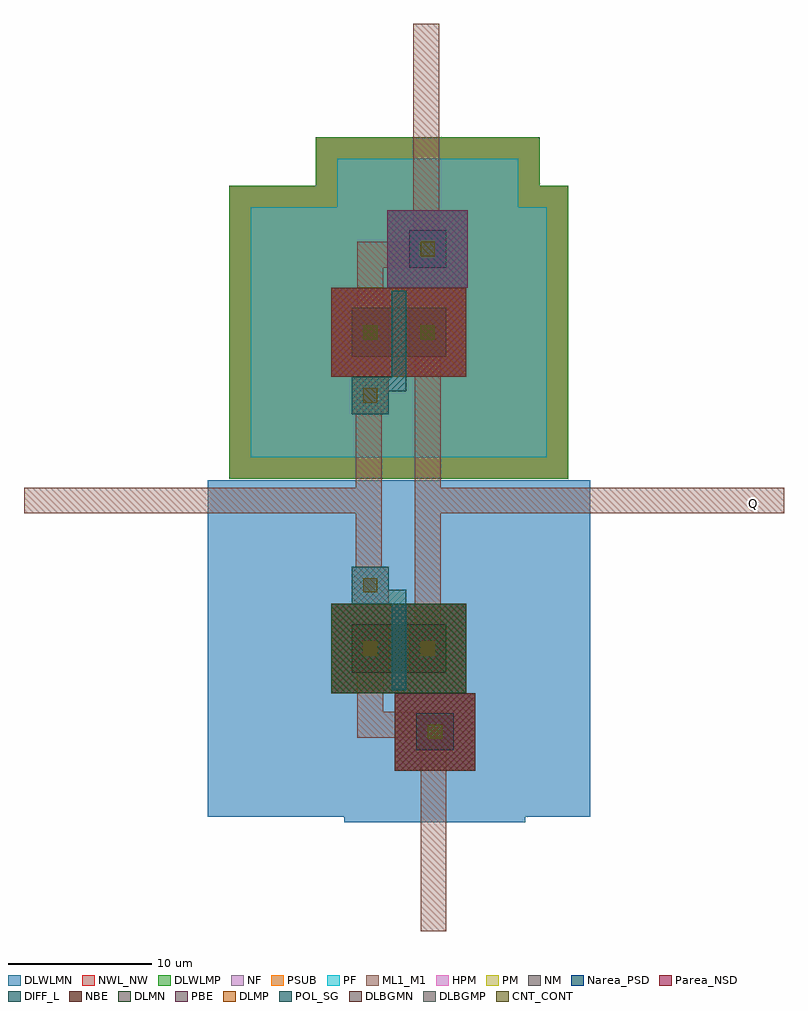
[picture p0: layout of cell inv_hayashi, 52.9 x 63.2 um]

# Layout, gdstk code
import gdstk
lib = gdstk.Library(unit=1e-6, precision=1e-07)
def R(c, l, rs):  # rectangles x0, y0, x1, y1
    for r in rs: c.add(gdstk.rectangle(r[:2], r[2:], *l))
DIFF_L = (3, 0)
NM = (7, 0)
POL_SG = (8, 0)
Narea_PSD = (9, 0)
CNT_CONT = (11, 0)
ML1_M1 = (13, 0)
NF = (25, 0)
PF = (26, 0)
Parea_NSD = (28, 0)
HPM = (33, 0)
PM = (35, 0)
NWL_NW = (36, 0)
PSUB = (140, 0)
PBE = (146, 0)
NBE = (147, 0)
DLWLMP = (150, 0)
DLWLMN = (151, 0)
DLMP = (157, 0)
DLMN = (158, 0)
DLBGMP = (177, 0)
DLBGMN = (178, 0)

dcont = lib.new_cell('dcont')
R(dcont, DIFF_L, [(-1.3,-1.3,1.3,1.3)])
R(dcont, CNT_CONT, [(-0.5,-0.5,0.5,0.5)])
R(dcont, ML1_M1, [(-1.3,-1.3,1.3,1.3), (-0.5,-0.5,0.5,0.5)])

pcont = lib.new_cell('pcont')
R(pcont, POL_SG, [(-1.3,-1.3,1.3,1.3)])
R(pcont, CNT_CONT, [(-0.5,-0.5,0.5,0.5)])
R(pcont, ML1_M1, [(-1.3,-1.3,1.3,1.3), (-0.5,-0.5,0.5,0.5)])

c_dcont = lib.new_cell('DCONT')
R(c_dcont, DIFF_L, [(-1.3,-1.3,1.3,1.3)])
R(c_dcont, CNT_CONT, [(-0.5,-0.5,0.5,0.5)])
R(c_dcont, ML1_M1, [(-1.3,-1.3,1.3,1.3), (-0.5,-0.5,0.5,0.5)])

psubcont = lib.new_cell('psubcont')
R(psubcont, NM, [(-2.8,-2.7,2.8,2.7)])
R(psubcont, Parea_NSD, [(-2.8,-2.7,2.8,2.7)])
R(psubcont, HPM, [(-2.8,-2.7,2.8,2.7)])
R(psubcont, PM, [(-2.8,-2.7,2.8,2.7)])
R(psubcont, DLWLMN, [(-6.3,-6.3,6.3,6.3)])
R(psubcont, DLBGMN, [(-2.8,-2.7,2.8,2.7)])
psubcont.add(gdstk.Reference(c_dcont, (0,0)))

c_mn = lib.new_cell('MN')
R(c_mn, DIFF_L, [(0,3.6,6.6,7)])
R(c_mn, Narea_PSD, [(-1.4,2.2,8,8.4)])
R(c_mn, HPM, [(-1.4,2.2,8,8.4)])
R(c_mn, PM, [(-1.4,2.2,8,8.4)])
R(c_mn, NBE, [(-1.4,2.2,8,8.4)])
R(c_mn, DLWLMN, [(-10,-6.4,16.6,17)])
R(c_mn, DLMN, [(-1.4,2.2,8,8.4)])
c_mn.add(gdstk.FlexPath([(1.3,3.6),(1.3,7)], 2.6, ends="flush", simple_path=True, layer=13, datatype=0))  # ML1_M1
c_mn.add(gdstk.FlexPath([(5.3,3.6),(5.3,7)], 2.6, ends="flush", simple_path=True, layer=13, datatype=0))  # ML1_M1
c_mn.add(gdstk.FlexPath([(1.3,1.3),(1.3,4.6)], 1.8, ends="flush", simple_path=True, layer=13, datatype=0))  # ML1_M1
c_mn.add(gdstk.FlexPath([(5.3,6),(5.3,9.3)], 1.8, ends="flush", simple_path=True, layer=13, datatype=0))  # ML1_M1
c_mn.add(gdstk.FlexPath([(3.3,3.6),(3.3,7)], 1, ends=(1.2, 1.2), simple_path=True, layer=8, datatype=0))  # POL_SG
c_mn.add(gdstk.FlexPath([(1.3,8.9),(3.3,8.9),(3.3,8.2)], 1, ends="flush", simple_path=True, layer=8, datatype=0))  # POL_SG
c_mn.add(gdstk.Reference(dcont, (1.3,5.3)))
c_mn.add(gdstk.Reference(dcont, (5.3,5.3)))
c_mn.add(gdstk.Reference(pcont, (1.3,9.7)))
c_mn.add(gdstk.Reference(psubcont, (5.8,-0.5)))

nsubcont = lib.new_cell('nsubcont')
R(nsubcont, NM, [(-2.8,-2.7,2.8,2.7)])
R(nsubcont, Narea_PSD, [(-2.8,-2.7,2.8,2.7)])
R(nsubcont, NF, [(-6.3,-6.3,6.3,6.3)])
R(nsubcont, PF, [(-6.3,-6.3,6.3,6.3)])
R(nsubcont, HPM, [(-2.8,-2.7,2.8,2.7)])
R(nsubcont, PM, [(-2.8,-2.7,2.8,2.7)])
R(nsubcont, NWL_NW, [(-7.8,-7.8,7.8,7.8)])
R(nsubcont, PSUB, [(-6.3,-6.3,6.3,6.3)])
R(nsubcont, DLWLMP, [(-7.8,-7.8,7.8,7.8)])
R(nsubcont, DLBGMP, [(-2.8,-2.7,2.8,2.7)])
nsubcont.add(gdstk.Reference(c_dcont, (0,0)))

c_mp = lib.new_cell('MP')
R(c_mp, DIFF_L, [(0,3.6,6.6,7)])
R(c_mp, NM, [(-1.4,2.2,8,8.4)])
R(c_mp, NF, [(-7,-3.4,13.6,14)])
R(c_mp, PF, [(-7,-3.4,13.6,14)])
R(c_mp, Parea_NSD, [(-1.4,2.2,8,8.4)])
R(c_mp, HPM, [(-1.4,2.2,8,8.4)])
R(c_mp, NWL_NW, [(-8.5,-4.9,15.1,15.5)])
R(c_mp, PSUB, [(-7,-3.4,13.6,14)])
R(c_mp, PBE, [(-1.4,2.2,8,8.4)])
R(c_mp, DLWLMP, [(-8.5,-4.9,15.1,15.5)])
R(c_mp, DLMP, [(-1.4,2.2,8,8.4)])
c_mp.add(gdstk.FlexPath([(1.3,3.6),(1.3,7)], 2.6, ends="flush", simple_path=True, layer=13, datatype=0))  # ML1_M1
c_mp.add(gdstk.FlexPath([(5.3,3.6),(5.3,7)], 2.6, ends="flush", simple_path=True, layer=13, datatype=0))  # ML1_M1
c_mp.add(gdstk.FlexPath([(1.3,6),(1.3,9.3)], 1.8, ends="flush", simple_path=True, layer=13, datatype=0))  # ML1_M1
c_mp.add(gdstk.FlexPath([(5.3,1.3),(5.3,4.6)], 1.8, ends="flush", simple_path=True, layer=13, datatype=0))  # ML1_M1
c_mp.add(gdstk.FlexPath([(3.3,3.6),(3.3,7)], 1, ends=(1.2, 1.2), simple_path=True, layer=8, datatype=0))  # POL_SG
c_mp.add(gdstk.FlexPath([(1.3,1.7),(3.3,1.7),(3.3,2.4)], 1, ends="flush", simple_path=True, layer=8, datatype=0))  # POL_SG
c_mp.add(gdstk.Reference(dcont, (1.3,5.3)))
c_mp.add(gdstk.Reference(dcont, (5.3,5.3)))
c_mp.add(gdstk.Reference(pcont, (1.3,0.9)))
c_mp.add(gdstk.Reference(nsubcont, (5.3,11.1)))

inv_hayashi = lib.new_cell('inv_hayashi')
inv_hayashi.add(gdstk.FlexPath([(-11.4,7.7),(-11.4,9.6),(-6.4,9.6)], 1.8, ends="flush", simple_path=True, layer=13, datatype=0))  # ML1_M1
inv_hayashi.add(gdstk.FlexPath([(-7.5,9.6),(-7.5,25.7)], 1.8, ends="flush", simple_path=True, layer=13, datatype=0))  # ML1_M1
inv_hayashi.add(gdstk.FlexPath([(-7.4,0.3),(-7.4,-14)], 1.8, ends="flush", simple_path=True, layer=13, datatype=0))  # ML1_M1
inv_hayashi.add(gdstk.FlexPath([(-11.5,-0.3),(-11.5,-13.4)], 1.8, ends="flush", simple_path=True, layer=13, datatype=0))  # ML1_M1
inv_hayashi.add(gdstk.FlexPath([(-11.4,-21.6),(-11.4,-23.1),(-6,-23.1)], 1.8, ends="flush", simple_path=True, layer=13, datatype=0))  # ML1_M1
inv_hayashi.add(gdstk.FlexPath([(-7,-23.1),(-7,-37.5)], 1.8, ends="flush", simple_path=True, layer=13, datatype=0))  # ML1_M1
inv_hayashi.add(gdstk.FlexPath([(-11.5,-7.5),(-35.5,-7.5)], 1.8, ends="flush", simple_path=True, layer=13, datatype=0))  # ML1_M1
inv_hayashi.add(gdstk.FlexPath([(-7.2,-7.5),(17.4,-7.5)], 1.8, ends="flush", simple_path=True, layer=13, datatype=0))  # ML1_M1
inv_hayashi.add(gdstk.Reference(c_mn, (-12.7,-23.1)))
inv_hayashi.add(gdstk.Reference(c_mp, (-12.7,-1.1)))
inv_hayashi.add(gdstk.Label('Q', (15.3,-7.7), layer=13, texttype=0))

lib.write_gds('inv_hayashi.gds')
